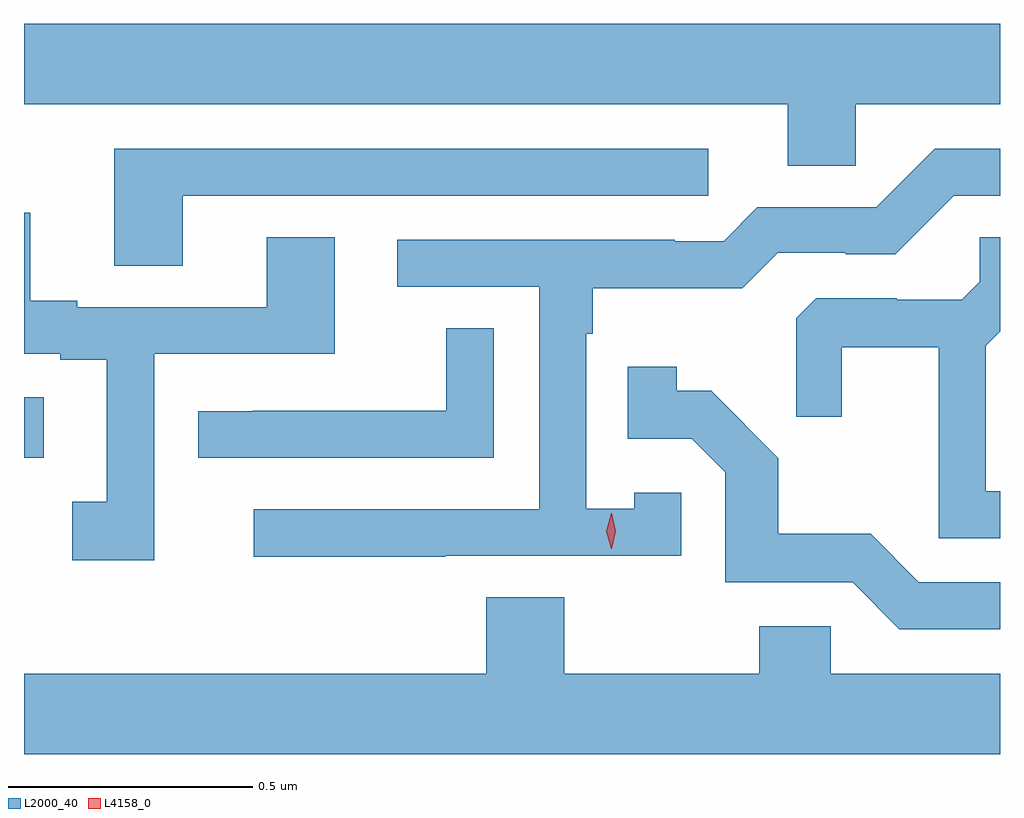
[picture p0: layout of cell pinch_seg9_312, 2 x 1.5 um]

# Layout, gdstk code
import gdstk
lib = gdstk.Library(unit=1e-6, precision=1e-09)
def R(c, l, rs):  # rectangles x0, y0, x1, y1
    for r in rs: c.add(gdstk.rectangle(r[:2], r[2:], *l))
def P(c, l, *ps):  # polygons
    for p in ps: c.add(gdstk.Polygon(p, *l))
L2000_40 = (2000, 40)
L4158_0 = (4158, 0)

pinch_seg9_312 = lib.new_cell('pinch_seg9_312')
R(pinch_seg9_312, L2000_40, [(413.604,1169.055,413.644,1169.179)])
P(pinch_seg9_312, L2000_40, [(415.308,1169.78),(415.604,1169.78),(415.604,1169.944),(413.604,1169.944),(413.604,1169.78),(415.169,1169.78),(415.169,1169.653),(415.308,1169.653)],
  [(414.467,1168.854),(414.951,1168.854),(414.951,1168.983),(414.855,1168.983),(414.855,1168.951),(414.756,1168.951),(414.756,1169.309),(414.769,1169.309),(414.769,1169.402),(415.076,1169.402),(415.149,1169.475),(415.288,1169.475),(415.288,1169.472),(415.389,1169.472),(415.509,1169.592),(415.604,1169.592),(415.604,1169.688),(415.47,1169.688),(415.35,1169.568),(415.107,1169.568),(415.038,1169.499),(414.938,1169.499),(414.938,1169.502),(414.369,1169.502),(414.369,1169.406),(414.66,1169.406),(414.66,1168.95),(414.075,1168.95),(414.075,1168.852),(414.467,1168.852)],
  [(413.929,1169.592),(415.006,1169.592),(415.006,1169.688),(413.789,1169.688),(413.789,1169.449),(413.929,1169.449)],
  [(413.871,1169.268),(414.241,1169.268),(414.241,1169.507),(414.101,1169.507),(414.101,1169.364),(413.713,1169.364),(413.713,1169.377),(413.617,1169.377),(413.617,1169.557),(413.604,1169.557),(413.604,1169.268),(413.678,1169.268),(413.678,1169.256),(413.774,1169.256),(413.774,1168.965),(413.703,1168.965),(413.703,1168.845),(413.871,1168.845)],
  [(415.604,1168.986),(415.575,1168.986),(415.575,1169.285),(415.604,1169.314),(415.604,1169.507),(415.563,1169.507),(415.563,1169.416),(415.526,1169.379),(415.392,1169.379),(415.392,1169.382),(415.227,1169.382),(415.186,1169.341),(415.186,1169.139),(415.28,1169.139),(415.28,1169.282),(415.478,1169.282),(415.478,1168.89),(415.604,1168.89)],
  [(414.567,1169.321),(414.469,1169.321),(414.469,1169.151),(414.073,1169.151),(414.073,1169.15),(413.961,1169.15),(413.961,1169.055),(414.567,1169.055)],
  [(415.604,1168.8),(415.437,1168.8),(415.339,1168.899),(415.15,1168.899),(415.15,1169.054),(415.012,1169.192),(414.942,1169.192),(414.942,1169.242),(414.841,1169.242),(414.841,1169.094),(414.972,1169.094),(415.041,1169.025),(415.041,1168.8),(415.302,1168.8),(415.398,1168.704),(415.604,1168.704)],
  [(415.604,1168.612),(415.257,1168.612),(415.257,1168.71),(415.111,1168.71),(415.111,1168.612),(414.711,1168.612),(414.711,1168.769),(414.551,1168.769),(414.551,1168.612),(413.604,1168.612),(413.604,1168.448),(415.604,1168.448)])
P(pinch_seg9_312, L4158_0, [(414.807,1168.869),(414.807,1168.869),(414.797,1168.905),(414.807,1168.941),(414.807,1168.941),(414.808,1168.941),(414.817,1168.905),(414.808,1168.869)])

lib.write_gds('pinch_seg9_312.gds')
